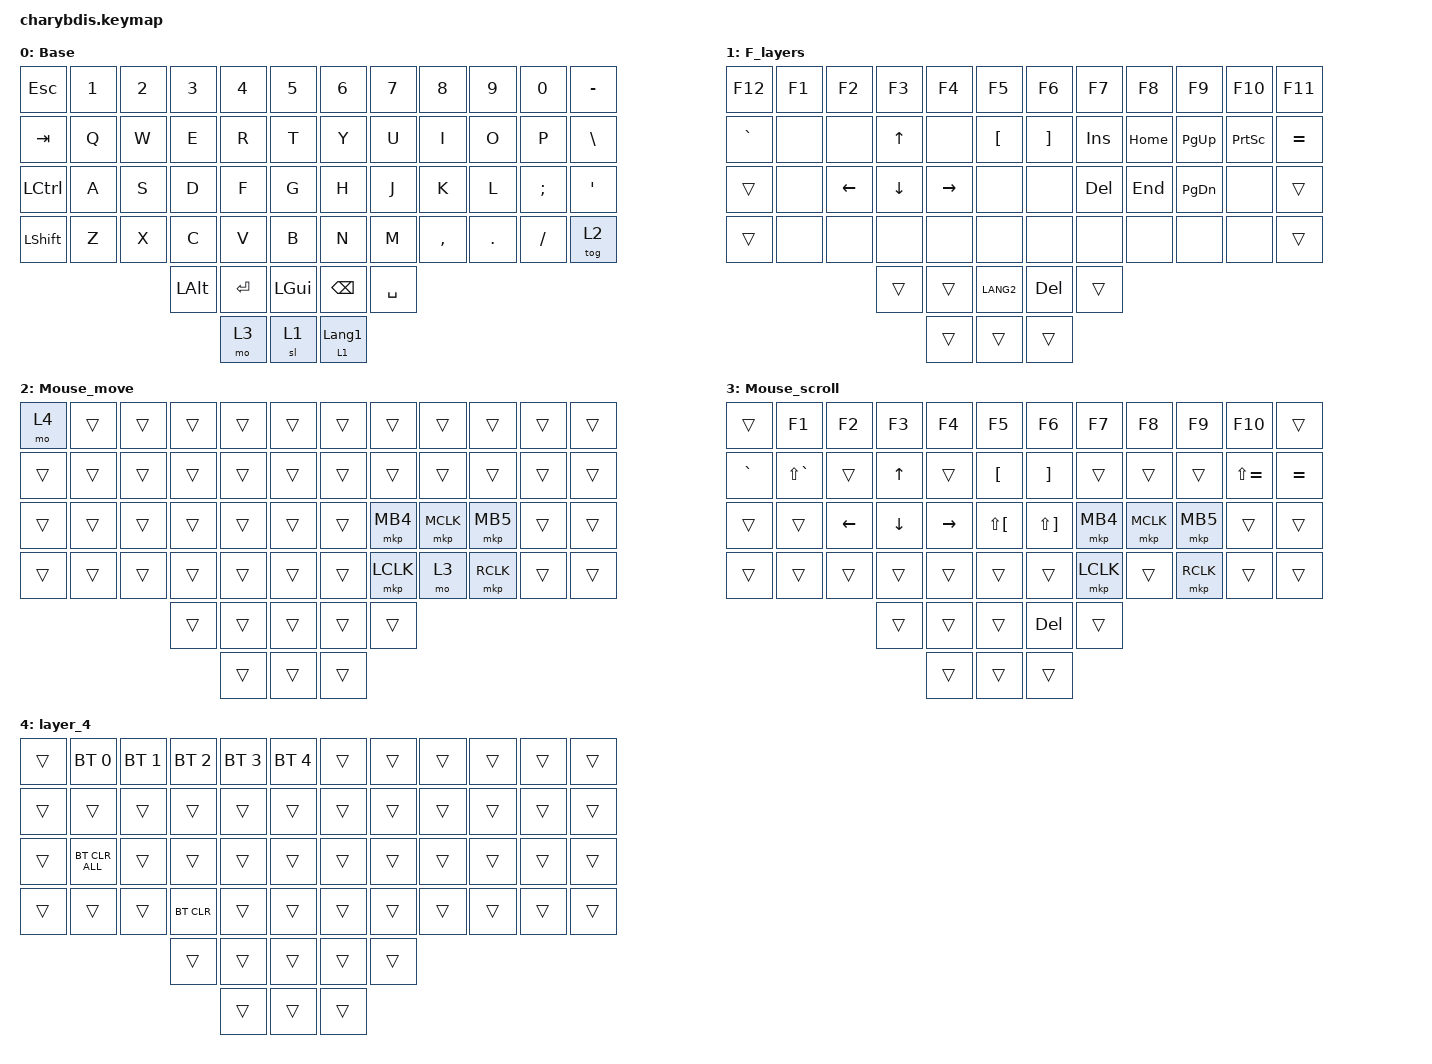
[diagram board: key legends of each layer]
#include <behaviors.dtsi>
#include <dt-bindings/zmk/bt.h>
#include <dt-bindings/zmk/keys.h>
#include <dt-bindings/zmk/pointing.h>

&lt {
    tapping-term-ms = <300>;
    flavor = "balanced";
    quick-tap-ms = <150>;
    require-prior-idle-ms = <125>;
};

/ {
    behaviors {
        tog_hold: tog_hold {
            compatible = "zmk,behavior-hold-tap";
            label = "TOG_HOLD";
            bindings = <&kp>, <&tog>;

            #binding-cells = <2>;
            tapping-term-ms = <300>;
            hold-while-undecided;
        };
    };

    keymap {
        compatible = "zmk,keymap";

        Base {
            bindings = <
&kp ESC         &kp N1  &kp N2  &kp N3    &kp N4     &kp N5          &kp N6            &kp N7     &kp N8     &kp N9   &kp N0    &kp MINUS
&kp TAB         &kp Q   &kp W   &kp E     &kp R      &kp T           &kp Y             &kp U      &kp I      &kp O    &kp P     &kp BSLH
&kp LCTRL       &kp A   &kp S   &kp D     &kp F      &kp G           &kp H             &kp J      &kp K      &kp L    &kp SEMI  &kp SQT
&kp LEFT_SHIFT  &kp Z   &kp X   &kp C     &kp V      &kp B           &kp N             &kp M      &kp COMMA  &kp DOT  &kp FSLH  &tog 2
                                &kp LALT  &kp ENTER  &kp LEFT_GUI    &kp BSPC          &kp SPACE
                                          &mo 3      &sl 1           &lt 1 LANGUAGE_1
            >;
        };

        F_layers {
            bindings = <
&kp F12    &kp F1  &kp F2    &kp F3    &kp F4     &kp F5       &kp F6    &kp F7   &kp F8    &kp F9     &kp F10    &kp F11
&kp GRAVE  &none   &none     &kp UP    &none      &kp LBKT     &kp RBKT  &kp INS  &kp HOME  &kp PG_UP  &kp PSCRN  &kp EQUAL
&trans     &none   &kp LEFT  &kp DOWN  &kp RIGHT  &none        &none     &kp DEL  &kp END   &kp PG_DN  &none      &trans
&trans     &none   &none     &none     &none      &none        &none     &none    &none     &none      &none      &trans
                             &trans    &trans     &kp LANG2    &kp DEL   &trans
                                       &trans     &trans       &trans
            >;
        };

        Mouse_move {
            bindings = <
&mo 4   &trans  &trans  &trans  &trans  &trans    &trans  &trans     &trans     &trans     &trans  &trans
&trans  &trans  &trans  &trans  &trans  &trans    &trans  &trans     &trans     &trans     &trans  &trans
&trans  &trans  &trans  &trans  &trans  &trans    &trans  &mkp MB4   &mkp MCLK  &mkp MB5   &trans  &trans
&trans  &trans  &trans  &trans  &trans  &trans    &trans  &mkp LCLK  &mo 3      &mkp RCLK  &trans  &trans
                        &trans  &trans  &trans    &trans  &trans
                                &trans  &trans    &trans
            >;
        };

        Mouse_scroll {
            bindings = <
&trans     &kp F1         &kp F2    &kp F3    &kp F4     &kp F5              &kp F6             &kp F7     &kp F8     &kp F9     &kp F10        &trans
&kp GRAVE  &kp LS(GRAVE)  &trans    &kp UP    &trans     &kp LEFT_BRACKET    &kp RIGHT_BRACKET  &trans     &trans     &trans     &kp LS(EQUAL)  &kp EQUAL
&trans     &trans         &kp LEFT  &kp DOWN  &kp RIGHT  &kp LS(LBKT)        &kp LS(RBKT)       &mkp MB4   &mkp MCLK  &mkp MB5   &trans         &trans
&trans     &trans         &trans    &trans    &trans     &trans              &trans             &mkp LCLK  &trans     &mkp RCLK  &trans         &trans
                                    &trans    &trans     &trans              &kp DEL            &trans
                                              &trans     &trans              &trans
            >;
        };

        layer_4 {
            bindings = <
&trans  &bt BT_SEL 0    &bt BT_SEL 1  &bt BT_SEL 2  &bt BT_SEL 3  &bt BT_SEL 4    &trans  &trans  &trans  &trans  &trans  &trans
&trans  &trans          &trans        &trans        &trans        &trans          &trans  &trans  &trans  &trans  &trans  &trans
&trans  &bt BT_CLR_ALL  &trans        &trans        &trans        &trans          &trans  &trans  &trans  &trans  &trans  &trans
&trans  &trans          &trans        &bt BT_CLR    &trans        &trans          &trans  &trans  &trans  &trans  &trans  &trans
                                      &trans        &trans        &trans          &trans  &trans
                                                    &trans        &trans          &trans
            >;
        };
    };
};
